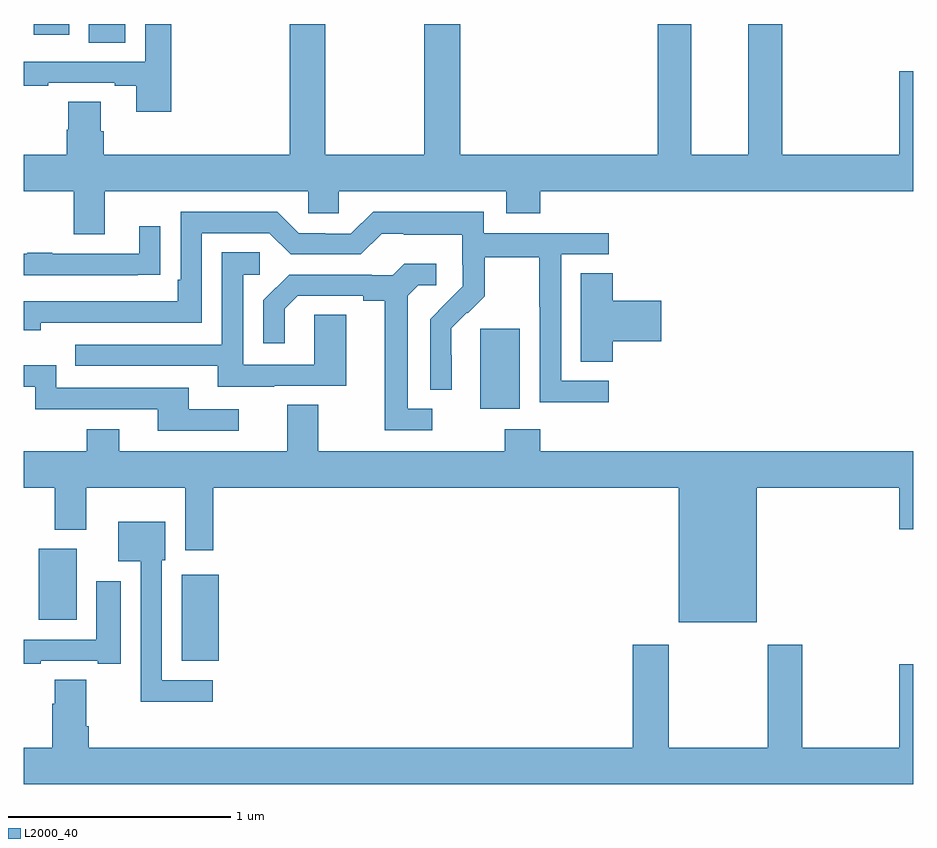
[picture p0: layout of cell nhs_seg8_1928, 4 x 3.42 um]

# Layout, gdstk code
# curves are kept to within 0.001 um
import gdstk
lib = gdstk.Library(unit=1e-6, precision=1e-09)
def R(c, l, rs):  # rectangles x0, y0, x1, y1
    for r in rs: c.add(gdstk.rectangle(r[:2], r[2:], *l))
def P(c, l, *ps):  # polygons
    for p in ps: c.add(gdstk.Polygon(p, *l))
L2000_40 = (2000, 40)

nhs_seg8_1928 = lib.new_cell('nhs_seg8_1928')
R(nhs_seg8_1928, L2000_40, [(233.711,1133.039,233.878,1133.425), (233.069,1133.222,233.239,1133.542), (235.052,1134.17,235.231,1134.531), (233.294,1135.816,233.458,1135.9), (233.045,1135.851,233.206,1135.9)])
P(nhs_seg8_1928, L2000_40, [(233.225,1134.954),(233.365,1134.954),(233.365,1135.148),(234.279,1135.148),(234.279,1135.05),(234.417,1135.05),(234.417,1135.148),(235.169,1135.148),(235.169,1135.049),(235.322,1135.049),(235.322,1135.148),(237,1135.148),(237,1135.687),(236.936,1135.687),(236.936,1135.312),(236.411,1135.312),(236.411,1135.9),(236.258,1135.9),(236.258,1135.312),(236.002,1135.312),(236.002,1135.9),(235.85,1135.9),(235.85,1135.312),(234.962,1135.312),(234.962,1135.9),(234.802,1135.9),(234.802,1135.312),(234.357,1135.312),(234.357,1135.9),(234.197,1135.9),(234.197,1135.312),(233.36,1135.312),(233.36,1135.418),(233.347,1135.418),(233.347,1135.55),(233.2,1135.55),(233.2,1135.425),(233.195,1135.425),(233.195,1135.312),(233,1135.312),(233,1135.148),(233.225,1135.148)],
  [(233.663,1135.9),(233.547,1135.9),(233.547,1135.731),(233,1135.731),(233,1135.623),(233.111,1135.623),(233.111,1135.635),(233.411,1135.635),(233.411,1135.623),(233.507,1135.623),(233.507,1135.506),(233.663,1135.506)],
  [(235.63,1134.297),(235.416,1134.297),(235.416,1134.864),(235.63,1134.864),(235.63,1134.96),(235.068,1134.96),(235.068,1135.057),(234.571,1135.057),(234.471,1134.957),(234.356,1134.957),(234.356,1134.96),(234.237,1134.96),(234.141,1135.056),(233.706,1135.056),(233.706,1134.751),(233.693,1134.751),(233.693,1134.654),(233,1134.654),(233,1134.524),(233.078,1134.524),(233.078,1134.558),(233.802,1134.558),(233.802,1134.96),(234.105,1134.96),(234.201,1134.864),(234.516,1134.864),(234.609,1134.957),(234.709,1134.957),(234.709,1134.953),(234.972,1134.953),(234.972,1134.819),(234.974,1134.819),(234.974,1134.722),(234.828,1134.574),(234.828,1134.256),(234.924,1134.256),(234.923,1134.533),(234.993,1134.603),(234.996,1134.6),(235.073,1134.677),(235.073,1134.852),(235.318,1134.852),(235.318,1134.628),(235.32,1134.628),(235.32,1134.199),(235.63,1134.199)],
  [(233.513,1134.772),(233.615,1134.772),(233.615,1134.991),(233.519,1134.991),(233.519,1134.867),(233.129,1134.867),(233.129,1134.872),(233.017,1134.872),(233.017,1134.867),(233,1134.867),(233,1134.771),(233.513,1134.771)],
  [(234.127,1134.273),(234.451,1134.273),(234.451,1134.593),(234.306,1134.593),(234.306,1134.369),(233.988,1134.369),(233.988,1134.774),(234.061,1134.774),(234.061,1134.875),(233.892,1134.875),(233.892,1134.459),(233.233,1134.459),(233.233,1134.363),(233.873,1134.363),(233.873,1134.269),(234.127,1134.269)],
  [(234.838,1134.171),(234.727,1134.171),(234.727,1134.679),(234.774,1134.726),(234.856,1134.726),(234.856,1134.823),(234.712,1134.823),(234.66,1134.771),(234.566,1134.771),(234.566,1134.774),(234.194,1134.774),(234.078,1134.658),(234.078,1134.465),(234.175,1134.465),(234.175,1134.621),(234.232,1134.678),(234.527,1134.678),(234.527,1134.656),(234.623,1134.656),(234.623,1134.075),(234.838,1134.075)],
  [(235.649,1134.473),(235.867,1134.473),(235.867,1134.656),(235.649,1134.656),(235.649,1134.779),(235.505,1134.779),(235.505,1134.382),(235.649,1134.382)],
  [(233.968,1134.168),(233.743,1134.168),(233.743,1134.264),(233.148,1134.264),(233.148,1134.367),(233,1134.367),(233,1134.27),(233.052,1134.27),(233.052,1134.168),(233.603,1134.168),(233.603,1134.072),(233.968,1134.072)],
  [(236.296,1133.816),(236.936,1133.816),(236.936,1133.628),(237,1133.628),(237,1133.98),(235.322,1133.98),(235.322,1134.079),(235.162,1134.079),(235.162,1133.98),(234.325,1133.98),(234.325,1134.188),(234.185,1134.188),(234.185,1133.98),(233.431,1133.98),(233.431,1134.079),(233.284,1134.079),(233.284,1133.98),(233,1133.98),(233,1133.816),(233.141,1133.816),(233.141,1133.627),(233.281,1133.627),(233.281,1133.816),(233.726,1133.816),(233.726,1133.535),(233.852,1133.535),(233.852,1133.816),(235.946,1133.816),(235.946,1133.21),(236.296,1133.21)],
  [(233.851,1132.95),(233.622,1132.95),(233.622,1133.49),(233.638,1133.49),(233.638,1133.662),(233.426,1133.662),(233.426,1133.486),(233.526,1133.486),(233.526,1132.853),(233.851,1132.853)],
  [(233.077,1133.037),(233.333,1133.037),(233.333,1133.025),(233.437,1133.025),(233.437,1133.395),(233.327,1133.395),(233.327,1133.133),(233,1133.133),(233,1133.025),(233.077,1133.025)],
  [(237,1133.023),(236.936,1133.023),(236.936,1132.648),(236.499,1132.648),(236.499,1133.11),(236.344,1133.11),(236.344,1132.648),(235.899,1132.648),(235.899,1133.11),(235.739,1133.11),(235.739,1132.648),(233.294,1132.648),(233.294,1132.744),(233.281,1132.744),(233.281,1132.952),(233.141,1132.952),(233.141,1132.844),(233.129,1132.844),(233.129,1132.648),(233,1132.648),(233,1132.484),(237,1132.484)])

lib.write_gds('nhs_seg8_1928.gds')
